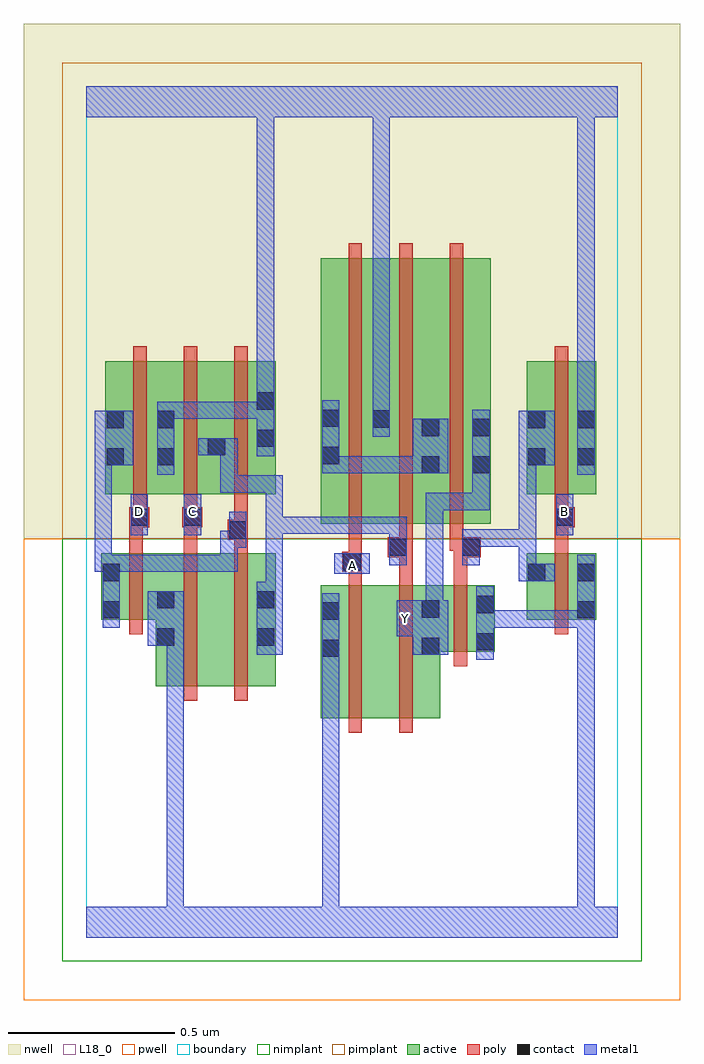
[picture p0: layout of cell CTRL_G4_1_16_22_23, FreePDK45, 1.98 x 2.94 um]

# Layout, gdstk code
import gdstk
lib = gdstk.Library(unit=1e-6, precision=1e-09)
def R(c, l, rs):  # rectangles x0, y0, x1, y1
    for r in rs: c.add(gdstk.rectangle(r[:2], r[2:], *l))
def A(c, l, x, y, w, h, nx, ny, dx, dy):  # array of equal rectangles
    R(c, l, [(x+i*dx, y+j*dy, x+i*dx+w, y+j*dy+h) for i in range(nx) for j in range(ny)])
active = (1, 0)
pwell = (2, 0)
nwell = (3, 0)
nimplant = (4, 0)
pimplant = (5, 0)
poly = (9, 0)
contact = (10, 0)
metal1 = (11, 0)
L18_0 = (18, 0)
boundary = (235, 0)

ctrl_g4_1_16_22_23 = lib.new_cell('CTRL_G4_1_16_22_23')
A(ctrl_g4_1_16_22_23, active, 0.058, 1.334, 0.06, 0.31, 3, 1, 0.152, 0)
R(ctrl_g4_1_16_22_23, active, [(0.706,0.66,0.886,1.06), (0.886,0.66,1.066,1.06), (1.006,0.66,1.066,1.018), (0.21,0.756,0.39,1.156), (0.21,0.756,0.27,1.156), (0.39,0.756,0.57,1.156), (0.51,0.756,0.57,1.156), (0.706,0.756,0.766,1.06), (1.006,0.86,1.23,1.06), (1.17,0.86,1.23,1.06), (0.046,0.956,0.106,1.156), (0.046,0.956,0.27,1.156), (1.326,0.956,1.386,1.156), (1.326,0.956,1.534,1.156), (1.474,0.956,1.534,1.156), (0.706,1.244,0.766,2.044), (0.706,1.244,0.918,2.044), (0.858,1.244,1.066,2.044), (1.006,1.244,1.218,2.044), (1.158,1.244,1.218,2.044), (0.058,1.334,0.27,1.734), (0.21,1.334,0.422,1.734), (0.362,1.334,0.57,1.734), (0.51,1.334,0.57,1.644), (1.326,1.334,1.386,1.644), (1.326,1.334,1.534,1.734), (1.474,1.334,1.534,1.644), (1.006,1.392,1.066,2.044), (0.858,1.53,0.918,2.044)])
R(ctrl_g4_1_16_22_23, pwell, [(-0.188,-0.188,1.788,1.2)])
R(ctrl_g4_1_16_22_23, nwell, [(-0.188,1.2,1.788,2.748)])
R(ctrl_g4_1_16_22_23, nimplant, [(-0.072,-0.072,1.672,1.2)])
R(ctrl_g4_1_16_22_23, pimplant, [(-0.072,1.2,1.672,2.632)])
A(ctrl_g4_1_16_22_23, poly, 0.79, 1.2, 0.04, 0.888, 3, 1, 0.152, 0)
A(ctrl_g4_1_16_22_23, poly, 0.142, 1.29, 0.04, 0.488, 3, 1, 0.152, 0)
R(ctrl_g4_1_16_22_23, poly, [(0.79,0.616,0.83,1.104), (0.942,0.616,0.982,1.104), (0.294,0.712,0.334,1.2), (0.446,0.712,0.486,1.2), (1.106,0.816,1.146,1.104), (0.13,0.912,0.17,1.2), (1.41,0.912,1.45,1.2), (0.79,1.064,0.83,1.14), (0.942,1.064,0.982,1.184), (1.106,1.064,1.146,1.184), (0.77,1.1,0.83,1.16), (0.79,1.12,0.83,1.16), (0.79,1.12,0.83,1.16), (0.79,1.12,0.83,1.24), (0.908,1.144,0.982,1.204), (0.942,1.144,0.982,1.184), (0.942,1.144,0.982,1.184), (1.106,1.144,1.188,1.204), (0.13,1.16,0.17,1.274), (0.294,1.16,0.334,1.274), (0.446,1.16,0.486,1.236), (1.41,1.16,1.45,1.274), (0.942,1.164,0.982,1.24), (1.094,1.164,1.134,1.24), (1.094,1.164,1.146,1.204), (1.106,1.164,1.146,1.204), (0.426,1.196,0.486,1.256), (0.446,1.216,0.486,1.256), (0.446,1.216,0.486,1.256), (0.446,1.216,0.486,1.33), (0.13,1.234,0.17,1.274), (0.13,1.234,0.17,1.274), (0.13,1.234,0.19,1.294), (0.29,1.234,0.35,1.294), (0.294,1.234,0.334,1.274), (0.294,1.234,0.334,1.274), (1.41,1.234,1.45,1.274), (1.41,1.234,1.45,1.274), (1.41,1.234,1.47,1.294), (0.142,1.254,0.182,1.33), (0.294,1.254,0.334,1.33), (1.41,1.254,1.45,1.33), (1.41,1.29,1.45,1.778)])
R(ctrl_g4_1_16_22_23, contact, [(0.71,0.844,0.762,0.896), (1.01,0.85,1.062,0.902), (1.174,0.864,1.226,0.916), (0.214,0.878,0.266,0.93), (0.514,0.878,0.566,0.93), (0.71,0.956,0.762,1.008), (0.05,0.96,0.102,1.012), (1.478,0.96,1.53,1.012), (1.01,0.962,1.062,1.014), (1.174,0.976,1.226,1.028), (0.214,0.99,0.266,1.042), (0.514,0.99,0.566,1.042), (0.05,1.072,0.102,1.124), (1.33,1.072,1.382,1.124), (1.478,1.072,1.53,1.124), (0.774,1.104,0.826,1.156), (0.912,1.148,0.964,1.2), (1.132,1.148,1.184,1.2), (0.43,1.2,0.482,1.252), (0.134,1.238,0.186,1.29), (0.294,1.238,0.346,1.29), (1.414,1.238,1.466,1.29), (1.01,1.396,1.062,1.448), (1.162,1.396,1.214,1.448), (0.062,1.42,0.114,1.472), (0.214,1.42,0.266,1.472), (1.33,1.42,1.382,1.472), (1.478,1.42,1.53,1.472), (0.71,1.424,0.762,1.476), (0.366,1.45,0.418,1.502), (0.514,1.476,0.566,1.528), (1.01,1.508,1.062,1.56), (1.162,1.508,1.214,1.56), (0.062,1.532,0.114,1.584), (0.214,1.532,0.266,1.584), (1.33,1.532,1.382,1.584), (1.478,1.532,1.53,1.584), (0.862,1.534,0.914,1.586), (0.71,1.536,0.762,1.588), (0.514,1.588,0.566,1.64)])
R(ctrl_g4_1_16_22_23, metal1, [(0,0,1.6,0.092), (0.242,0.04,0.294,0.092), (0.242,0.04,0.294,0.092), (0.242,0.04,0.294,0.092), (0.242,0.04,0.294,0.092), (0.242,0.04,0.294,0.092), (0.242,0.04,0.294,0.092), (0.242,0.04,0.294,0.092), (0.242,0.04,0.294,0.092), (0.242,0.04,0.294,0.092), (0.242,0.04,0.294,0.092), (0.242,0.04,0.294,0.092), (0.242,0.04,0.294,0.092), (0.242,0.04,0.294,0.93), (0.71,0.04,0.762,0.092), (0.71,0.04,0.762,0.092), (0.71,0.04,0.762,0.092), (0.71,0.04,0.762,0.092), (0.71,0.04,0.762,0.092), (0.71,0.04,0.762,0.092), (0.71,0.04,0.762,0.092), (0.71,0.04,0.762,0.092), (0.71,0.04,0.762,0.092), (0.71,0.04,0.762,0.092), (0.71,0.04,0.762,0.092), (0.71,0.04,0.762,0.092), (0.71,0.04,0.762,0.868), (1.478,0.04,1.53,0.092), (1.478,0.04,1.53,0.092), (1.478,0.04,1.53,0.092), (1.478,0.04,1.53,0.092), (1.478,0.04,1.53,0.092), (1.478,0.04,1.53,0.092), (1.478,0.04,1.53,0.092), (1.478,0.04,1.53,0.092), (1.478,0.04,1.53,0.092), (1.478,0.04,1.53,0.092), (1.478,0.04,1.53,0.092), (1.478,0.04,1.53,0.092), (1.478,0.04,1.53,0.092), (1.478,0.04,1.53,0.092), (1.478,0.04,1.53,0.984), (0.71,0.816,0.762,1.036), (1.174,0.836,1.226,1.056), (0.514,0.85,0.592,1.07), (0.982,0.85,1.09,1.014), (0.186,0.878,0.294,1.042), (0.934,0.906,1.074,1.014), (1.022,0.906,1.074,0.958), (0.05,0.932,0.102,1.152), (1.174,0.932,1.42,0.984), (1.368,0.932,1.42,0.984), (1.368,0.932,1.53,0.984), (1.478,0.932,1.53,0.984), (1.478,0.932,1.53,0.984), (1.478,0.932,1.53,0.984), (1.478,0.932,1.53,0.984), (1.478,0.932,1.53,1.152), (1.022,0.962,1.074,1.338), (0.54,1.018,0.592,1.07), (0.54,1.018,0.592,1.07), (0.54,1.018,0.592,1.266), (1.302,1.072,1.354,1.228), (1.302,1.072,1.41,1.124), (0.746,1.094,0.854,1.156), (0.026,1.1,0.078,1.472), (0.026,1.1,0.102,1.152), (0.05,1.1,0.102,1.152), (0.05,1.1,0.102,1.152), (0.05,1.1,0.102,1.152), (0.05,1.1,0.266,1.152), (0.214,1.1,0.266,1.152), (0.214,1.1,0.266,1.152), (0.214,1.1,0.266,1.152), (0.214,1.1,0.456,1.152), (0.404,1.1,0.456,1.224), (0.912,1.12,0.964,1.266), (1.132,1.12,1.184,1.228), (0.404,1.172,0.482,1.224), (0.43,1.172,0.482,1.28), (1.132,1.176,1.354,1.228), (1.302,1.176,1.354,1.228), (1.302,1.176,1.354,1.228), (1.302,1.176,1.354,1.228), (1.302,1.176,1.354,1.472), (0.134,1.21,0.186,1.334), (0.294,1.21,0.346,1.334), (1.414,1.21,1.466,1.334), (0.54,1.214,0.702,1.266), (0.54,1.214,0.592,1.39), (0.65,1.214,0.702,1.266), (0.65,1.214,0.702,1.266), (0.65,1.214,0.702,1.266), (0.65,1.214,0.876,1.266), (0.824,1.214,0.876,1.266), (0.824,1.214,0.964,1.266), (1.022,1.286,1.074,1.338), (1.022,1.286,1.074,1.338), (1.022,1.286,1.074,1.338), (1.022,1.286,1.214,1.338), (1.162,1.286,1.214,1.338), (1.162,1.286,1.214,1.42), (0.404,1.338,0.456,1.39), (0.404,1.338,0.456,1.39), (0.404,1.338,0.456,1.39), (0.404,1.338,0.592,1.39), (0.404,1.338,0.456,1.502), (1.162,1.368,1.214,1.588), (0.214,1.392,0.266,1.612), (1.478,1.392,1.53,1.612), (0.71,1.396,0.762,1.448), (0.71,1.396,0.762,1.448), (0.71,1.396,0.762,1.616), (0.71,1.396,0.876,1.448), (0.824,1.396,0.876,1.448), (0.824,1.396,0.876,1.448), (0.824,1.396,0.876,1.448), (0.824,1.396,1.034,1.448), (0.982,1.396,1.09,1.56), (0.026,1.42,0.078,1.472), (0.026,1.42,0.078,1.472), (0.026,1.42,0.142,1.584), (1.302,1.42,1.354,1.472), (1.302,1.42,1.354,1.472), (1.302,1.42,1.41,1.584), (0.514,1.448,0.566,1.668), (0.338,1.45,0.456,1.502), (0.862,1.506,0.914,1.614), (0.214,1.56,0.266,1.612), (0.214,1.56,0.266,1.612), (0.214,1.56,0.456,1.612), (0.404,1.56,0.456,1.612), (0.404,1.56,0.456,1.612), (0.404,1.56,0.456,1.612), (0.404,1.56,0.566,1.612), (1.478,1.56,1.53,1.612), (1.478,1.56,1.53,1.612), (1.478,1.56,1.53,1.612), (1.478,1.56,1.53,1.612), (1.478,1.56,1.53,1.612), (1.478,1.56,1.53,1.612), (1.478,1.56,1.53,1.612), (1.478,1.56,1.53,1.612), (1.478,1.56,1.53,1.612), (1.478,1.56,1.53,1.612), (1.478,1.56,1.53,2.52), (0.862,1.562,0.914,1.614), (0.862,1.562,0.914,1.614), (0.862,1.562,0.914,2.52), (0.514,1.616,0.566,2.52), (0,2.468,1.6,2.56), (0.514,2.468,0.566,2.52), (0.514,2.468,0.566,2.52), (0.514,2.468,0.566,2.52), (0.514,2.468,0.566,2.52), (0.514,2.468,0.566,2.52), (0.514,2.468,0.566,2.52), (0.514,2.468,0.566,2.52), (0.514,2.468,0.566,2.52), (0.514,2.468,0.566,2.52), (0.514,2.468,0.566,2.52), (0.514,2.468,0.566,2.52), (0.514,2.468,0.566,2.52), (0.514,2.468,0.566,2.52), (0.514,2.468,0.566,2.52), (0.514,2.468,0.566,2.52), (0.514,2.468,0.566,2.52), (0.862,2.468,0.914,2.52), (0.862,2.468,0.914,2.52), (0.862,2.468,0.914,2.52), (0.862,2.468,0.914,2.52), (0.862,2.468,0.914,2.52), (0.862,2.468,0.914,2.52), (1.478,2.468,1.53,2.52), (1.478,2.468,1.53,2.52), (1.478,2.468,1.53,2.52), (1.478,2.468,1.53,2.52), (1.478,2.468,1.53,2.52), (1.478,2.468,1.53,2.52)])
R(ctrl_g4_1_16_22_23, L18_0, [(0,0,1.6,0.092), (0.242,0.04,0.294,0.092), (0.242,0.04,0.294,0.092), (0.242,0.04,0.294,0.092), (0.242,0.04,0.294,0.092), (0.242,0.04,0.294,0.092), (0.242,0.04,0.294,0.092), (0.242,0.04,0.294,0.092), (0.242,0.04,0.294,0.092), (0.242,0.04,0.294,0.092), (0.242,0.04,0.294,0.092), (0.242,0.04,0.294,0.092), (0.242,0.04,0.294,0.092), (0.242,0.04,0.294,0.93), (0.71,0.04,0.762,0.092), (0.71,0.04,0.762,0.092), (0.71,0.04,0.762,0.092), (0.71,0.04,0.762,0.092), (0.71,0.04,0.762,0.092), (0.71,0.04,0.762,0.092), (0.71,0.04,0.762,0.092), (0.71,0.04,0.762,0.092), (0.71,0.04,0.762,0.092), (0.71,0.04,0.762,0.092), (0.71,0.04,0.762,0.092), (0.71,0.04,0.762,0.092), (0.71,0.04,0.762,0.868), (1.478,0.04,1.53,0.092), (1.478,0.04,1.53,0.092), (1.478,0.04,1.53,0.092), (1.478,0.04,1.53,0.092), (1.478,0.04,1.53,0.092), (1.478,0.04,1.53,0.092), (1.478,0.04,1.53,0.092), (1.478,0.04,1.53,0.092), (1.478,0.04,1.53,0.092), (1.478,0.04,1.53,0.092), (1.478,0.04,1.53,0.092), (1.478,0.04,1.53,0.092), (1.478,0.04,1.53,0.092), (1.478,0.04,1.53,0.092), (1.478,0.04,1.53,0.984), (0.71,0.816,0.762,1.036), (1.174,0.836,1.226,1.056), (0.982,0.85,1.09,1.014), (0.186,0.878,0.294,1.042), (0.934,0.906,1.074,1.014), (1.022,0.906,1.074,0.958), (1.174,0.932,1.42,0.984), (1.368,0.932,1.42,0.984), (1.368,0.932,1.53,0.984), (1.478,0.932,1.53,0.984), (1.478,0.932,1.53,0.984), (1.478,0.932,1.53,0.984), (1.478,0.932,1.53,0.984), (1.478,0.932,1.53,1.152), (0.934,0.934,0.986,0.986), (1.022,0.962,1.074,1.338), (0.746,1.094,0.854,1.156), (0.774,1.094,0.826,1.146), (0.134,1.21,0.186,1.334), (0.294,1.21,0.346,1.334), (1.414,1.21,1.466,1.334), (0.134,1.254,0.186,1.306), (0.294,1.254,0.346,1.306), (1.414,1.254,1.466,1.306), (1.022,1.286,1.074,1.338), (1.022,1.286,1.074,1.338), (1.022,1.286,1.074,1.338), (1.022,1.286,1.214,1.338), (1.162,1.286,1.214,1.338), (1.162,1.286,1.214,1.42), (1.162,1.368,1.214,1.588), (0.214,1.392,0.266,1.612), (1.478,1.392,1.53,1.612), (0.514,1.448,0.566,1.668), (0.862,1.506,0.914,1.614), (0.214,1.56,0.266,1.612), (0.214,1.56,0.266,1.612), (0.214,1.56,0.456,1.612), (0.404,1.56,0.456,1.612), (0.404,1.56,0.456,1.612), (0.404,1.56,0.456,1.612), (0.404,1.56,0.566,1.612), (1.478,1.56,1.53,1.612), (1.478,1.56,1.53,1.612), (1.478,1.56,1.53,1.612), (1.478,1.56,1.53,1.612), (1.478,1.56,1.53,1.612), (1.478,1.56,1.53,1.612), (1.478,1.56,1.53,1.612), (1.478,1.56,1.53,1.612), (1.478,1.56,1.53,1.612), (1.478,1.56,1.53,1.612), (1.478,1.56,1.53,2.52), (0.862,1.562,0.914,1.614), (0.862,1.562,0.914,1.614), (0.862,1.562,0.914,2.52), (0.514,1.616,0.566,2.52), (0,2.468,1.6,2.56), (0.514,2.468,0.566,2.52), (0.514,2.468,0.566,2.52), (0.514,2.468,0.566,2.52), (0.514,2.468,0.566,2.52), (0.514,2.468,0.566,2.52), (0.514,2.468,0.566,2.52), (0.514,2.468,0.566,2.52), (0.514,2.468,0.566,2.52), (0.514,2.468,0.566,2.52), (0.514,2.468,0.566,2.52), (0.514,2.468,0.566,2.52), (0.514,2.468,0.566,2.52), (0.514,2.468,0.566,2.52), (0.514,2.468,0.566,2.52), (0.514,2.468,0.566,2.52), (0.514,2.468,0.566,2.52), (0.862,2.468,0.914,2.52), (0.862,2.468,0.914,2.52), (0.862,2.468,0.914,2.52), (0.862,2.468,0.914,2.52), (0.862,2.468,0.914,2.52), (0.862,2.468,0.914,2.52), (1.478,2.468,1.53,2.52), (1.478,2.468,1.53,2.52), (1.478,2.468,1.53,2.52), (1.478,2.468,1.53,2.52), (1.478,2.468,1.53,2.52), (1.478,2.468,1.53,2.52)])
R(ctrl_g4_1_16_22_23, boundary, [(0,0,1.6,2.56)])
ctrl_g4_1_16_22_23.add(gdstk.Label('A', (0.8,1.12), layer=11, texttype=0))
ctrl_g4_1_16_22_23.add(gdstk.Label('B', (1.44,1.28), layer=11, texttype=0))
ctrl_g4_1_16_22_23.add(gdstk.Label('C', (0.32,1.28), layer=11, texttype=0))
ctrl_g4_1_16_22_23.add(gdstk.Label('D', (0.16,1.28), layer=11, texttype=0))
ctrl_g4_1_16_22_23.add(gdstk.Label('Y', (0.96,0.96), layer=11, texttype=0))

lib.write_gds('CTRL_G4_1_16_22_23.gds')
